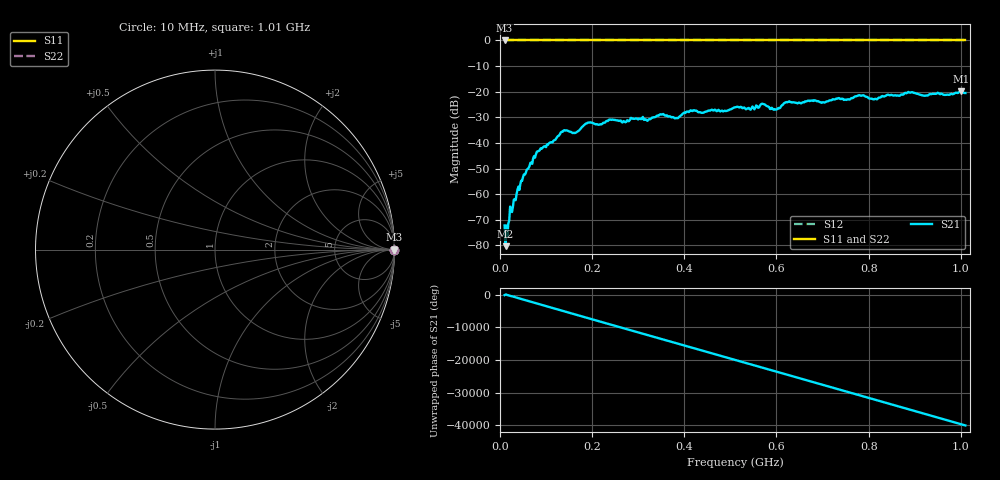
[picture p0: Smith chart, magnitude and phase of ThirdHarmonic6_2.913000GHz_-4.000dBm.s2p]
! 8/17/2025 8:04:58 AM
! C:\ANRITSUVNA\TEMP\TEMP.S2P
! CHANNEL.1
! TR.MEASUREMENT
! RAW.DATA
! RF.CORRECTION.OFF
! AVERAGING.OFF
! IF.BANDWIDTH: 5KHZ
! SWEEPTYPE:  FREQ.SWEEP(Linear)
! Reference Plane Port Info
! PORT:  PORT1  PORT2
! DISTANCE:  0  m  0  m
! TIME:  0  s  0  s
! PHASE.OFFSET:  0  deg.  0  deg.
! LOSS:  0  dB  0  dB
! REF.LOSS:  0  dB  0  dB
! REF.FREQ:  0  Hz  0  Hz
! Power Info
! POWER:  -20  dBm  -20  dBm
! EFF.POWER:  -20  dBm  -20  dBm
! SOURCE.ATTEN:  0  dB  0  dB
! TEST.ATTEN:  0  dB  0  dB
# GHZ S RI R 50.0
! FREQ.GHZ  S11RE  S11IM  S21RE  S21IM  S12RE  S12IM  S22RE  S22IM
!; PortSelection: Port_12
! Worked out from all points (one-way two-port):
!   501 points, 10 MHz to 1.01 GHz, reference 50 ohm
!   highest |S21| = -19.81 dB at 1 GHz (marker M1); lowest = -80.3 dB at 12 MHz (marker M2)
!   lowest |S11| = 0.0 dB at 10 MHz (marker M3)
!   |S11| at or under -10 dB: nowhere
!   |S22| runs from 0.0 to 0.0 dB; largest |S21 - S12| = 1.1
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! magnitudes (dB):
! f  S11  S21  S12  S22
! 10 MHz  0.0  -72.2  0.0  0.0
! 12 MHz  0.0  -80.3  0.0  0.0
! 16 MHz  0.0  -76.4  0.0  0.0
! 26 MHz  0.0  -67.0  0.0  0.0
! 42 MHz  0.0  -58.3  0.0  0.0
! 78 MHz  0.0  -44.4  0.0  0.0
! 136 MHz  0.0  -35.6  0.0  0.0
! 162 MHz  0.0  -36.1  0.0  0.0
! 178 MHz  0.0  -33.8  0.0  0.0
! 194 MHz  0.0  -32.0  0.0  0.0
! 322 MHz  0.0  -30.9  0.0  0.0
! 344 MHz  0.0  -29.4  0.0  0.0
! 382 MHz  0.0  -30.2  0.0  0.0
! 416 MHz  0.0  -27.5  0.0  0.0
! 510 MHz  0.0  -26.1  0.0  0.0
! 570 MHz  0.0  -24.7  0.0  0.0
! 598 MHz  0.0  -27.0  0.0  0.0
! 624 MHz  0.0  -24.1  0.0  0.0
! 678 MHz  0.0  -23.4  0.0  0.0
! 844 MHz  0.0  -21.3  0.0  0.0
! 1 GHz  0.0  -19.8  0.0  0.0
! 1.01 GHz  0.0  -20.5  0.0  0.0
